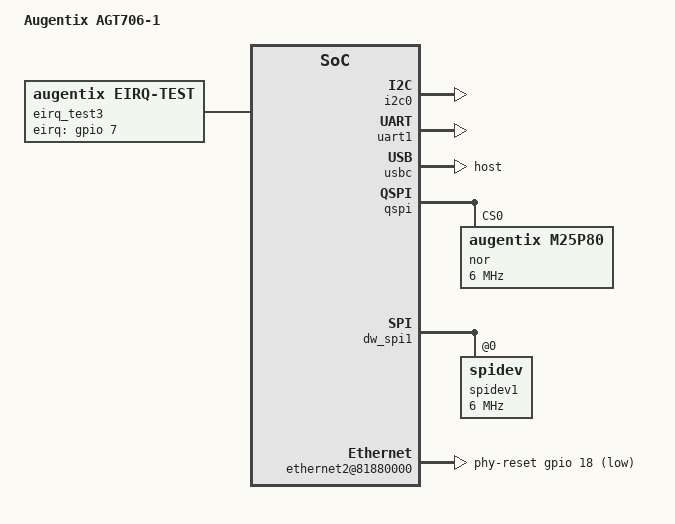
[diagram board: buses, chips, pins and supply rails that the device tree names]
/dts-v1/;
#include "hc1706.dtsi"

/ {
	model = "Augentix AGT706-1";

	soc@80000000 {
		i2c0: i2c@80070000 {
			status = "okay";
		};

		i2c1: i2c@80080000 {
			status = "disable";
		};

		i2c2: i2c@80090000 {
			status = "disable";
		};

		uart1: uart@80830000 {
			status = "okay";
		};

		uart2: uart@80840000 {
			status = "disable";
		};

		sdc0: sdc@818A0000 {
			sdc-cd-gpio-num = <45>;
			sdpwren-gpios = <&gpio 46 GPIO_ACTIVE_LOW>;
			status = "okay";
		};

		sdc1_p0: sdc1_p0@818C0000 {
			// status = "okay";
		};

		sdc1_p1: sdc1_p1@818C0000 {
			// status = "okay";
		};

		pwm: pwm@80060000 {
			// status = "okay";
		};

		usbc: usbc@A0000000 {
			dr_mode = "host";
			status = "okay";
		};

		usb2_phy: usbphy@0 {
			status = "okay";
		};

		mpp {
			is@83000000 {
				isw-buf-num = <3>;
			};

			isp@82000000 {
				nrw-buf-num = <1>;
			};

			enc@81001000 {
				bsb-size = <0x200000 0x100000>;
				rd-buf-size = <0x60000>;
				snapshot-size = <0x60000>;
				rd-buf-num = <6>;
			};
		};

		qspi: spi@83610000{
			status = "okay";
			nor@0{
				#address-cells = <1>;
				#size-cells = <1>;
				compatible = "augentix,m25p80", "augentix,spi-nor";
				reg = <0>;
				spi-max-frequency = <6000000>;
				spi-tx-bus-width = <4>;
				spi-rx-bus-width = <4>;
				m25p,fast-read;
				status = "okay";
			};
		};
		dw_spi1: spi@80810000 {
			//status = "okay";
			spidev1: spidev@0 {
				spi-max-frequency = <6000000>;
			};
		};

		gpio: gpio@80001400 {
			pmu_gpio = <0x0>;
			pioc0_gpio = <0x0 0x0>;
			pioc1_gpio = <0x0 0x0>;
			status = "okay";
		};

		gpio_test: gpio_test {
			compatible = "augentix,gpio-test";
			pmuioc-gpios = <&gpio 49 GPIO_ACTIVE_HIGH>, <&gpio 50 GPIO_ACTIVE_HIGH>, <&gpio 51 GPIO_ACTIVE_HIGH>;
			pioc0-gpios = <&gpio 0 GPIO_ACTIVE_HIGH>, <&gpio 15 GPIO_ACTIVE_HIGH>, <&gpio 20 GPIO_ACTIVE_HIGH>, <&gpio 25 GPIO_ACTIVE_HIGH>, <&gpio 31 GPIO_ACTIVE_HIGH>;
			pioc1-gpios = <&gpio 32 GPIO_ACTIVE_HIGH>, <&gpio 40 GPIO_ACTIVE_HIGH>, <&gpio 42 GPIO_ACTIVE_HIGH>, <&gpio 45 GPIO_ACTIVE_HIGH>, <&gpio 48 GPIO_ACTIVE_HIGH>;
			status = "disable";
		};

		clk_test: clk_test {
			compatible = "augentix,clk-test";
			clocks = <&clkc 0>, <&clkc 1>, <&clkc 2>, <&clkc 3>, <&clkc 4>, <&clkc 5>, <&clkc 6>, <&clkc 7>, <&clkc 8>, <&clkc 9>, <&clkc 10>, <&clkc 11>, <&clkc 12>, <&clkc 13>, <&clkc 14>, <&clkc 15>, <&clkc 16>, <&clkc 17>, <&clkc 18>, <&clkc 19>, <&clkc 20>, <&clkc 21>, <&clkc 22>, <&clkc 23>, <&clkc 24>, <&clkc 25>, <&clkc 26>, <&clkc 27>, <&clkc 28>, <&clkc 29>, <&clkc 30>, <&clkc 31>, <&clkc 32>, <&clkc 33>, <&clkc 34>, <&clkc 35>, <&clkc 36>, <&clkc 37>, <&clkc 38>, <&clkc 39>, <&clkc 40>, <&clkc 41>, <&clkc 42>, <&clkc 43>, <&clkc 44>, <&clkc 45>, <&clkc 46>, <&clkc 47>, <&clkc 48>, <&clkc 49>, <&clkc 50>, <&clkc 51>, <&clkc 52>, <&clkc 53>;
			status = "disable";
		};
		eirq_test3: eirq_test3 {
 			compatible = "augentix,eirq-test";
 			interrupt-parent = <&gic>;
 			interrupts = <0 92 4>, <0 93 4>, <0 94 4>, <0 95 4>, <0 96 4>;
			eirq-gpios = <&gpio 7 GPIO_ACTIVE_HIGH>;
 			//status = "okay";
 		};
 
		ethernet2@81880000 {
			status = "okay";
			phy-reset-gpios = <&gpio 18 GPIO_ACTIVE_HIGH>;
		};

		adc@80110000 {
			status = "disable";
		};

		audio_pcm@80120000 {
			status = "okay";
			audio-output-amp-en-gpios = <&gpio 1 GPIO_ACTIVE_HIGH>;
		};

		audio_machine {
			status = "okay";
		};
	};
};
